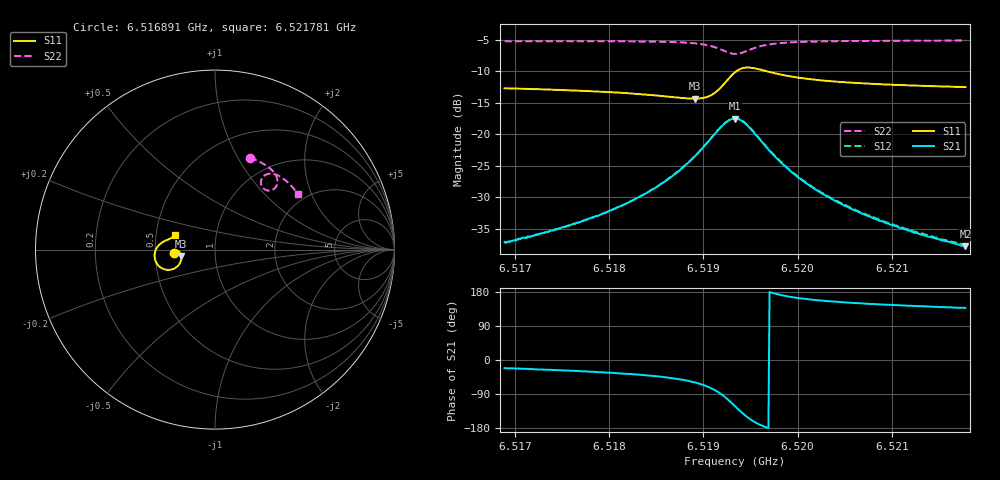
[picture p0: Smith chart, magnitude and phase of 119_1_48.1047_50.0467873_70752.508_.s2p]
#  HZ  S  RI  R  50.00
! Rohde & Schwarz Vector Network Analyzer
! Rohde-Schwarz,ZNB20-2Port,1311601062101988,3.16
! Created: UTC 12/23/2023, 3:46:33 AM
! freq[Hz]  re:S11  im:S11  re:S21  im:S21  re:S12  im:S12  re:S22  im:S22
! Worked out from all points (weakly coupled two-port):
!   401 points, 6.516891 GHz to 6.521781 GHz, reference 50 ohm
!   highest |S21| = -17.49 dB at 6.519336 GHz (marker M1); lowest = -37.8 dB at 6.521781 GHz (marker M2)
!   lowest |S11| = -14.3 dB at 6.518908 GHz (marker M3), VSWR 1.47, Z = 34.1 - j2.47 ohm
!   |S11| at or under -10 dB: start of sweep to 6.519349 GHz; 6.519676 GHz to end of sweep
!   |S22| runs from -7.2 to -5.1 dB; largest |S21 - S12| = 0.0041
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6.5168907e9  -0.2312 -0.0193  0.013 -0.0051  0.0129 -0.00452  0.1955 0.5121
6.5171841e9  -0.2283 -0.0147  0.0142 -0.0063  0.0143 -0.00582  0.2171 0.5035
6.5177098e9  -0.2214 -0.00812  0.0177 -0.0102  0.0179 -0.0095  0.2562 0.485
6.5181377e9  -0.2132 -0.0056  0.0221 -0.0159  0.0225 -0.0151  0.2882 0.4656
6.5185289e9  -0.2022 -0.0097  0.0284 -0.0269  0.0293 -0.0262  0.3185 0.4411
6.5187245e9  -0.195 -0.0179  0.0322 -0.0383  0.0336 -0.0374  0.3334 0.4234
6.5189079e9  -0.1885 -0.0349  0.0343 -0.0572  0.0363 -0.0563  0.3455 0.399
6.519018e9  -0.1883 -0.0538  0.0312 -0.0757  0.0338 -0.075  0.3482 0.3781
6.5191035e9  -0.1951 -0.0747  0.0218 -0.0945  0.0249 -0.0944  0.344 0.3581
6.519238e9  -0.2364 -0.1095  -0.0204 -0.1221  -0.0169 -0.1237  0.3123 0.3301
6.5192869e9  -0.2634 -0.1131  -0.0454 -0.1227  -0.042 -0.1249  0.293 0.3292
6.5193358e9  -0.2922 -0.1058  -0.0704 -0.1133  -0.0675 -0.1162  0.2741 0.3372
6.5193847e9  -0.3165 -0.0879  -0.09 -0.0948  -0.0878 -0.0983  0.2608 0.3526
6.5194458e9  -0.3335 -0.0574  -0.1018 -0.0667  -0.1006 -0.0702  0.2556 0.3758
6.5195436e9  -0.3341 -0.0132  -0.0975 -0.0287  -0.0975 -0.0318  0.2675 0.4049
6.5196537e9  -0.3188 0.0174  -0.0811 -0.00503  -0.0817 -0.00749  0.2899 0.4198
6.5198982e9  -0.2872 0.0444  -0.0517 0.0112  -0.0527 0.00981  0.331 0.4207
6.5201549e9  -0.2674 0.0537  -0.0354 0.0135  -0.0362 0.0127  0.3597 0.4091
6.5205706e9  -0.2495 0.0616  -0.0223 0.0124  -0.023 0.0118  0.3931 0.3858
6.520974e9  -0.2386 0.0675  -0.016 0.0109  -0.0165 0.0107  0.4185 0.3619
6.5214141e9  -0.2298 0.0738  -0.0119 0.00973  -0.0123 0.00944  0.4423 0.3352
6.5217809e9  -0.2236 0.0788  -0.00955 0.0087  -0.00995 0.00872  0.46 0.3125
